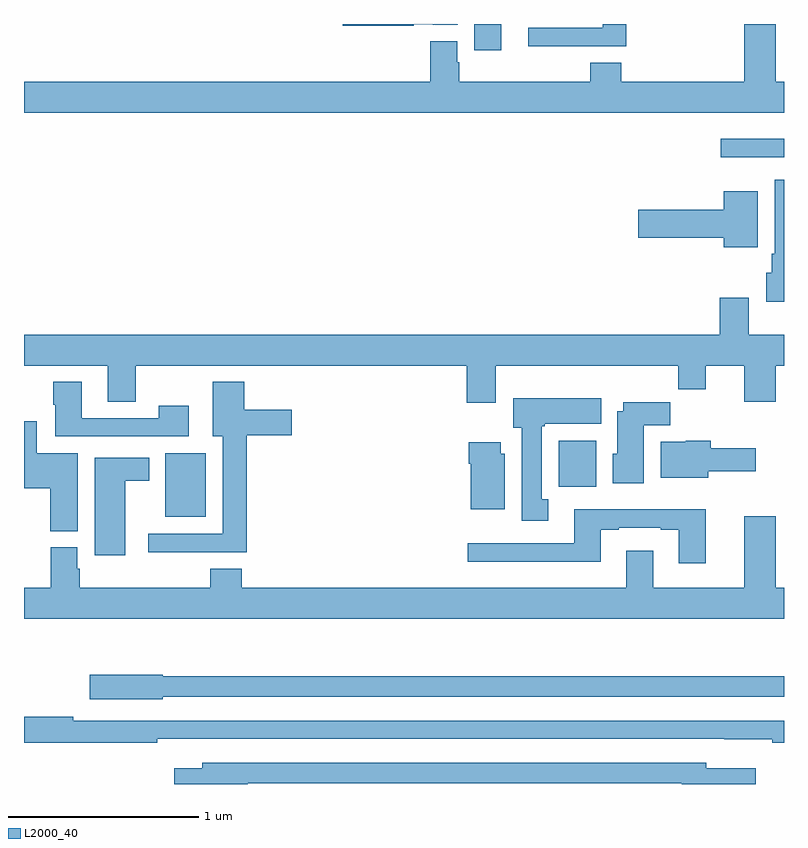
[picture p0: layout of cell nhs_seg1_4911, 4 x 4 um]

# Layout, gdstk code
import gdstk
lib = gdstk.Library(unit=1e-6, precision=1e-09)
def R(c, l, rs):  # rectangles x0, y0, x1, y1
    for r in rs: c.add(gdstk.rectangle(r[:2], r[2:], *l))
def P(c, l, *ps):  # polygons
    for p in ps: c.add(gdstk.Polygon(p, *l))
L2000_40 = (2000, 40)

nhs_seg1_4911 = lib.new_cell('nhs_seg1_4911')
R(nhs_seg1_4911, L2000_40, [(377.744,549.605,377.956,549.94), (379.814,549.764,380.011,550.006), (380.667,551.499,381,551.596), (379.37,552.06,379.513,552.199)])
P(nhs_seg1_4911, L2000_40, [(381,551.896),(380.956,551.896),(380.956,552.199),(380.792,552.199),(380.792,551.896),(380.144,551.896),(380.144,551.995),(379.979,551.995),(379.979,551.896),(379.292,551.896),(379.292,551.997),(379.279,551.997),(379.279,552.109),(379.139,552.109),(379.139,551.896),(377,551.896),(377,551.732),(381,551.732)],
  [(380.171,552.199),(380.045,552.199),(380.045,552.18),(379.653,552.18),(379.653,552.083),(380.171,552.083)],
  [(379.052,552.197),(379.152,552.197),(379.152,552.194),(379.282,552.194),(379.282,552.199),(378.678,552.199),(378.678,552.19),(379.052,552.19)],
  [(381,551.38),(380.951,551.38),(380.951,550.99),(380.936,550.99),(380.936,550.89),(380.906,550.89),(380.906,550.736),(381,550.736)],
  [(380.863,551.32),(380.684,551.32),(380.684,551.222),(380.232,551.222),(380.232,551.075),(380.684,551.075),(380.684,551.024),(380.863,551.024)],
  [(379.483,550.4),(380.443,550.4),(380.443,550.276),(380.587,550.276),(380.587,550.4),(380.792,550.4),(380.792,550.212),(380.956,550.212),(380.956,550.4),(381,550.4),(381,550.564),(380.815,550.564),(380.815,550.759),(380.663,550.759),(380.663,550.564),(377,550.564),(377,550.4),(377.441,550.4),(377.441,550.21),(377.589,550.21),(377.589,550.4),(379.331,550.4),(379.331,550.206),(379.483,550.206)],
  [(378.173,550.034),(378.409,550.034),(378.409,550.168),(378.16,550.168),(378.16,550.315),(377.993,550.315),(377.993,550.028),(378.047,550.028),(378.047,549.516),(377.655,549.516),(377.655,549.419),(378.173,549.419)],
  [(377.866,550.189),(377.71,550.189),(377.71,550.125),(377.305,550.125),(377.305,550.315),(377.153,550.315),(377.153,550.195),(377.165,550.195),(377.165,550.029),(377.866,550.029)],
  [(379.759,549.698),(379.726,549.698),(379.726,550.081),(379.74,550.081),(379.74,550.094),(380.038,550.094),(380.038,550.228),(379.574,550.228),(379.574,550.074),(379.619,550.074),(379.619,549.585),(379.759,549.585)],
  [(380.263,550.088),(380.402,550.088),(380.402,550.207),(380.153,550.207),(380.153,550.162),(380.123,550.162),(380.123,549.936),(380.099,549.936),(380.099,549.782),(380.263,549.782)],
  [(377.284,549.94),(377.068,549.94),(377.068,550.108),(377,550.108),(377,549.755),(377.138,549.755),(377.138,549.529),(377.284,549.529)],
  [(380.602,549.845),(380.851,549.845),(380.851,549.967),(380.615,549.967),(380.615,550.006),(380.484,550.006),(380.484,550),(380.351,550),(380.351,549.812),(380.602,549.812)],
  [(379.531,549.936),(379.51,549.936),(379.51,549.997),(379.34,549.997),(379.34,549.884),(379.352,549.884),(379.352,549.644),(379.531,549.644)],
  [(377.533,549.794),(377.659,549.794),(377.659,549.916),(377.372,549.916),(377.372,549.404),(377.533,549.404)],
  [(380.587,549.646),(379.895,549.646),(379.895,549.465),(379.335,549.465),(379.335,549.368),(380.035,549.368),(380.035,549.537),(380.131,549.537),(380.131,549.549),(380.351,549.549),(380.351,549.537),(380.447,549.537),(380.447,549.36),(380.587,549.36)],
  [(381,549.232),(380.956,549.232),(380.956,549.607),(380.792,549.607),(380.792,549.232),(380.311,549.232),(380.311,549.427),(380.171,549.427),(380.171,549.232),(378.146,549.232),(378.146,549.331),(377.981,549.331),(377.981,549.232),(377.294,549.232),(377.294,549.333),(377.281,549.333),(377.281,549.444),(377.141,549.444),(377.141,549.232),(377,549.232),(377,549.068),(381,549.068)],
  [(377.73,548.658),(381,548.658),(381,548.767),(377.73,548.767),(377.73,548.775),(377.346,548.775),(377.346,548.645),(377.73,548.645)],
  [(377.702,548.436),(380.686,548.436),(380.686,548.435),(380.938,548.435),(380.938,548.416),(381,548.416),(381,548.532),(377.258,548.532),(377.258,548.552),(377,548.552),(377,548.416),(377.702,548.416)],
  [(378.178,548.202),(380.462,548.202),(380.462,548.199),(380.851,548.199),(380.851,548.281),(380.59,548.281),(380.59,548.31),(377.939,548.31),(377.939,548.281),(377.79,548.281),(377.79,548.199),(378.178,548.199)])

lib.write_gds('nhs_seg1_4911.gds')
